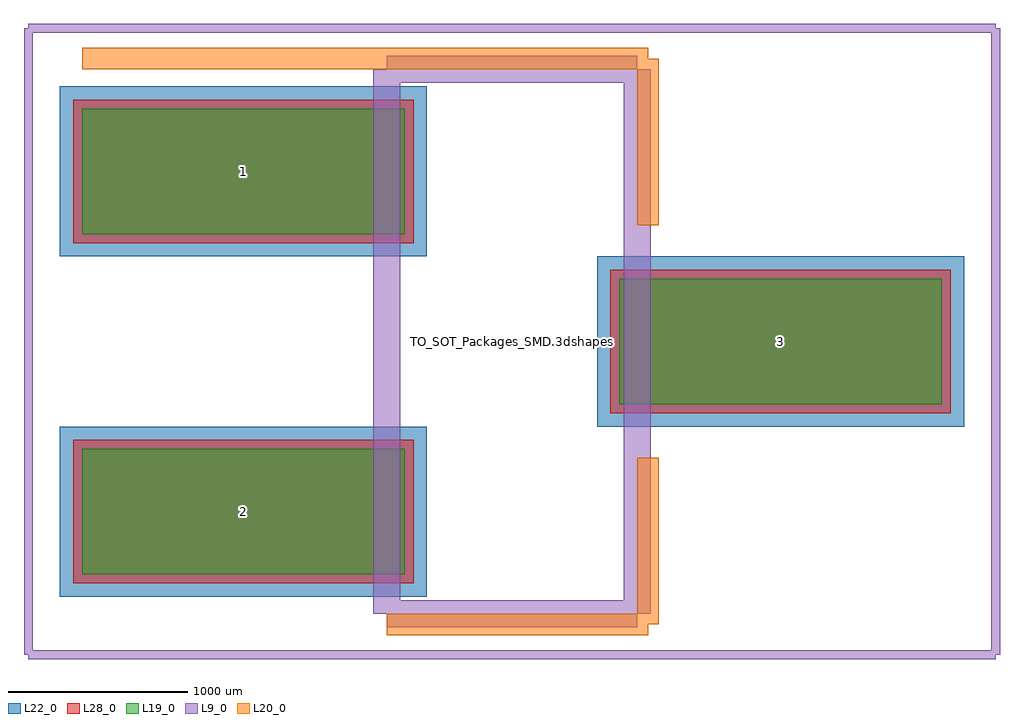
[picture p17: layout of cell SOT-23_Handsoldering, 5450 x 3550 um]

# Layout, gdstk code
import gdstk
lib = gdstk.Library(unit=1e-6, precision=1e-09)
def R(c, l, rs):  # rectangles x0, y0, x1, y1
    for r in rs: c.add(gdstk.rectangle(r[:2], r[2:], *l))
L9_0 = (9, 0)
L19_0 = (19, 0)
L20_0 = (20, 0)
L22_0 = (22, 0)
L28_0 = (28, 0)

sot_23_handsoldering = lib.new_cell('SOT-23_Handsoldering')
R(sot_23_handsoldering, L19_0, [(-2400,-1300,-600,-600), (600,-350,2400,350), (-2400,600,-600,1300)])
R(sot_23_handsoldering, L22_0, [(-2525,-1425,-475,-475), (475,-475,2525,475), (-2525,475,-475,1425)])
R(sot_23_handsoldering, L28_0, [(-2450,-1350,-550,-550), (550,-400,2450,400), (-2450,550,-550,1350)])
sot_23_handsoldering.add(gdstk.FlexPath([(760,-1580),(-700,-1580)], 119.998, ends="flush", simple_path=True, layer=20, datatype=0))  # L20_0
sot_23_handsoldering.add(gdstk.FlexPath([(-700,1520),(-700,-1520)], 149.998, ends="flush", simple_path=True, layer=9, datatype=0))  # L9_0
sot_23_handsoldering.add(gdstk.FlexPath([(-700,1520),(700,1520)], 149.998, ends="flush", simple_path=True, layer=9, datatype=0))  # L9_0
sot_23_handsoldering.add(gdstk.FlexPath([(760,1580),(-2400,1580)], 119.998, ends="flush", simple_path=True, layer=20, datatype=0))  # L20_0
sot_23_handsoldering.add(gdstk.FlexPath([(-2700,-1750),(-2700,1750)], 50, ends="flush", simple_path=True, layer=9, datatype=0))  # L9_0
sot_23_handsoldering.add(gdstk.FlexPath([(2700,-1750),(-2700,-1750)], 50, ends="flush", simple_path=True, layer=9, datatype=0))  # L9_0
sot_23_handsoldering.add(gdstk.FlexPath([(2700,1750),(2700,-1750)], 50, ends="flush", simple_path=True, layer=9, datatype=0))  # L9_0
sot_23_handsoldering.add(gdstk.FlexPath([(-2700,1750),(2700,1750)], 50, ends="flush", simple_path=True, layer=9, datatype=0))  # L9_0
sot_23_handsoldering.add(gdstk.FlexPath([(-700,-1520),(700,-1520)], 149.998, ends="flush", simple_path=True, layer=9, datatype=0))  # L9_0
sot_23_handsoldering.add(gdstk.FlexPath([(700,1520),(700,-1520)], 149.998, ends="flush", simple_path=True, layer=9, datatype=0))  # L9_0
sot_23_handsoldering.add(gdstk.FlexPath([(760,1580),(760,650)], 119.998, ends="flush", simple_path=True, layer=20, datatype=0))  # L20_0
sot_23_handsoldering.add(gdstk.FlexPath([(760,-1580),(760,-650)], 119.998, ends="flush", simple_path=True, layer=20, datatype=0))  # L20_0
sot_23_handsoldering.add(gdstk.Label('TO_SOT_Packages_SMD.3dshapes/SOT-23.wrl', (0,0), layer=12, texttype=0))
sot_23_handsoldering.add(gdstk.Label('3', (1500,0), layer=28, texttype=0))
sot_23_handsoldering.add(gdstk.Label('2', (-1500,-950), layer=28, texttype=0))
sot_23_handsoldering.add(gdstk.Label('1', (-1500,950), layer=28, texttype=0))
sot_23_handsoldering.add(gdstk.Label('type', (0,-2500), layer=9, texttype=0))
sot_23_handsoldering.add(gdstk.Label('devicename', (0,2500), layer=9, texttype=0))

lib.write_gds('SOT-23_Handsoldering.gds')
